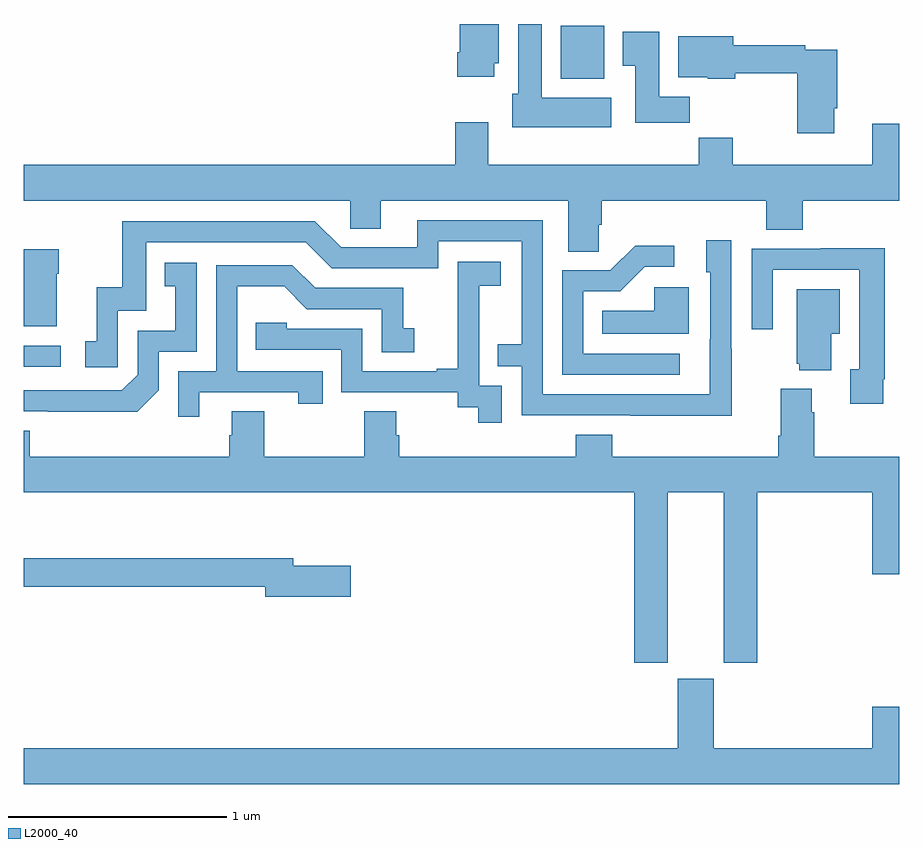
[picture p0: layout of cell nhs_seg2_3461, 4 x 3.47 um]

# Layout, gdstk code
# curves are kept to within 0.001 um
import gdstk
lib = gdstk.Library(unit=1e-6, precision=1e-09)
def R(c, l, rs):  # rectangles x0, y0, x1, y1
    for r in rs: c.add(gdstk.rectangle(r[:2], r[2:], *l))
def P(c, l, *ps):  # polygons
    for p in ps: c.add(gdstk.Polygon(p, *l))
L2000_40 = (2000, 40)

nhs_seg2_3461 = lib.new_cell('nhs_seg2_3461')
R(nhs_seg2_3461, L2000_40, [(293,624.234,293.17,624.33), (295.454,625.55,295.651,625.792)])
P(nhs_seg2_3461, L2000_40, [(295.15,625.62),(295.171,625.62),(295.171,625.8),(294.992,625.8),(294.992,625.672),(294.98,625.672),(294.98,625.56),(295.15,625.56)],
  [(295.684,625.462),(295.366,625.462),(295.366,625.8),(295.259,625.8),(295.259,625.482),(295.232,625.482),(295.232,625.328),(295.684,625.328)],
  [(296.042,625.468),(295.903,625.468),(295.903,625.765),(295.736,625.765),(295.736,625.609),(295.793,625.609),(295.793,625.35),(296.042,625.35)],
  [(296.704,625.414),(296.717,625.414),(296.717,625.683),(296.57,625.683),(296.57,625.703),(296.242,625.703),(296.242,625.744),(295.991,625.744),(295.991,625.556),(296.124,625.556),(296.124,625.55),(296.25,625.55),(296.25,625.575),(296.534,625.575),(296.534,625.302),(296.704,625.302)],
  [(296.393,624.859),(296.558,624.859),(296.558,624.992),(297,624.992),(297,625.345),(296.876,625.345),(296.876,625.156),(296.24,625.156),(296.24,625.28),(296.083,625.28),(296.083,625.156),(295.123,625.156),(295.123,625.351),(294.971,625.351),(294.971,625.156),(293,625.156),(293,624.992),(294.492,624.992),(294.492,624.865),(294.631,624.865),(294.631,624.992),(295.487,624.992),(295.487,624.76),(295.626,624.76),(295.626,624.883),(295.64,624.883),(295.64,624.992),(296.393,624.992)],
  [(296.235,624.317),(296.232,624.317),(296.232,624.811),(296.117,624.811),(296.117,624.666),(296.136,624.666),(296.135,624.108),(295.371,624.108),(295.371,624.903),(294.797,624.903),(294.797,624.78),(294.45,624.78),(294.33,624.9),(293.451,624.9),(293.451,624.598),(293.333,624.598),(293.333,624.351),(293.28,624.351),(293.28,624.231),(293.43,624.231),(293.43,624.489),(293.559,624.489),(293.559,624.804),(294.288,624.804),(294.408,624.684),(294.894,624.684),(294.894,624.807),(295.275,624.807),(295.275,624.338),(295.165,624.338),(295.165,624.237),(295.275,624.237),(295.275,624.012),(296.235,624.011)],
  [(295.996,624.294),(295.557,624.294),(295.557,624.579),(295.726,624.579),(295.837,624.69),(295.972,624.69),(295.972,624.788),(295.793,624.788),(295.68,624.675),(295.461,624.675),(295.461,624.198),(295.996,624.198)],
  [(296.926,624.178),(296.933,624.178),(296.933,624.776),(296.641,624.776),(296.641,624.774),(296.325,624.774),(296.325,624.405),(296.421,624.405),(296.421,624.678),(296.817,624.678),(296.817,624.222),(296.777,624.222),(296.777,624.066),(296.926,624.066)],
  [(293.152,624.659),(293.16,624.659),(293.16,624.772),(293,624.772),(293,624.419),(293.152,624.419)],
  [(295.185,624.147),(295.08,624.147),(295.08,624.377),(295.082,624.377),(295.082,624.605),(295.18,624.605),(295.18,624.715),(294.982,624.715),(294.982,624.509),(294.983,624.509),(294.983,624.226),(294.887,624.226),(294.887,624.213),(294.546,624.213),(294.546,624.408),(294.201,624.408),(294.201,624.435),(294.061,624.435),(294.061,624.312),(294.45,624.312),(294.45,624.117),(294.984,624.117),(294.984,624.049),(295.077,624.049),(295.077,623.979),(295.185,623.979)],
  [(293.616,624.126),(293.616,624.303),(293.79,624.303),(293.79,624.709),(293.644,624.709),(293.644,624.603),(293.693,624.603),(293.693,624.399),(293.52,624.399),(293.52,624.198),(293.448,624.126),(293,624.126),(293,624.03),(293.518,624.029)],
  [(293.803,624.117),(294.254,624.117),(294.254,624.066),(294.365,624.066),(294.365,624.213),(293.976,624.213),(293.976,624.602),(294.19,624.602),(294.294,624.498),(294.636,624.498),(294.636,624.3),(294.784,624.3),(294.784,624.409),(294.735,624.409),(294.735,624.594),(294.331,624.594),(294.226,624.699),(293.88,624.699),(293.88,624.213),(293.706,624.213),(293.706,624.006),(293.803,624.006)],
  [(296.038,624.598),(295.881,624.598),(295.881,624.49),(295.642,624.49),(295.642,624.386),(296.038,624.386)],
  [(296.689,624.386),(296.728,624.386),(296.728,624.589),(296.531,624.589),(296.531,624.249),(296.543,624.249),(296.543,624.218),(296.689,624.218)],
  [(295.942,623.66),(296.198,623.66),(296.198,622.881),(296.351,622.881),(296.351,623.66),(296.876,623.66),(296.876,623.286),(297,623.286),(297,623.824),(296.612,623.824),(296.612,624.026),(296.599,624.026),(296.599,624.133),(296.459,624.133),(296.459,623.92),(296.447,623.92),(296.447,623.824),(295.688,623.824),(295.688,623.923),(295.523,623.923),(295.523,623.824),(294.716,623.824),(294.716,623.922),(294.703,623.922),(294.703,624.032),(294.556,624.032),(294.556,623.824),(294.099,623.824),(294.099,624.032),(293.951,624.032),(293.951,623.922),(293.939,623.922),(293.939,623.824),(293.027,623.824),(293.027,623.941),(293,623.941),(293,623.66),(295.79,623.66),(295.79,622.881),(295.942,622.881)],
  [(294.493,623.325),(294.232,623.325),(294.232,623.359),(293,623.359),(293,623.23),(294.104,623.23),(294.104,623.183),(294.493,623.183)],
  [(297,622.681),(296.876,622.681),(296.876,622.492),(296.152,622.492),(296.152,622.809),(295.988,622.809),(295.988,622.492),(293,622.492),(293,622.328),(297,622.328)])

lib.write_gds('nhs_seg2_3461.gds')
